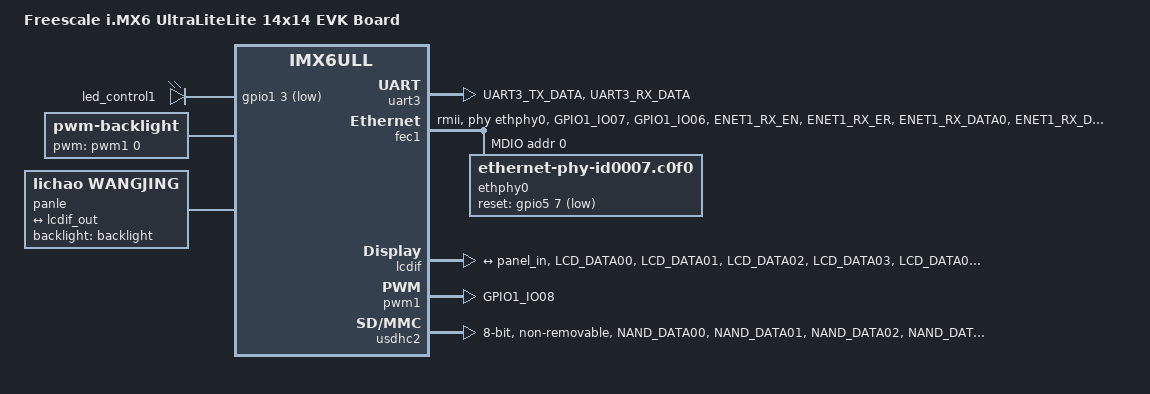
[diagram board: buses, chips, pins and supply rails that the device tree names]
// SPDX-License-Identifier: (GPL-2.0 OR MIT)
//
// Copyright (C) 2016 Freescale Semiconductor, Inc.

/dts-v1/;

#include "imx6ull.dtsi"

/ {
	model = "Freescale i.MX6 UltraLiteLite 14x14 EVK Board";
	compatible = "fsl,imx6ull-14x14-evk", "fsl,imx6ull";

	chosen {
		stdout-path = &uart3;
	};
	leds: leds {
		compatible = "gpio-leds";
		status = "okay";
	};
	backlight: backlight-display {
		compatible = "pwm-backlight";
		pwms = <&pwm1 0 100000>;
		brightness-levels = <0 4 8 16 32 64 128 255>;
		default-brightness-level = <128>;
		status = "okay";
	};
	
	panle {
		compatible = "lichao,wangjing", "panel-dpi";
		backlight = <&backlight>;
		status = "okay";
		port {
			panel_in: endpoint {
				remote-endpoint = <&lcdif_out>;
			};
		};
		panel-timing {
			clock-frequency = <51200000>;
			hactive = <1024>;
			vactive = <600>;
			hfront-porch = <160>;
			hback-porch = <140>;
			hsync-len = <20>;
			vback-porch = <20>;
			vfront-porch = <12>;
			vsync-len = <3>;
			hsync-active = <0>;
			vsync-active = <0>;
			de-active = <1>;
			pixelclk-active = <0>;
		};
	};
};
&iomuxc {
	pinctrl_uart3: uart3grp {
		fsl,pins = <
			MX6UL_PAD_UART3_TX_DATA__UART3_DCE_TX 0x1b0b1
			MX6UL_PAD_UART3_RX_DATA__UART3_DCE_RX 0x1b0b1
		>;
	};
	pinctrl_gpio1:gpio1grp {
		fsl,pins = <
			MX6UL_PAD_GPIO1_IO03__GPIO1_IO03 0x10b0
			MX6UL_PAD_GPIO1_IO01__GPIO1_IO01 0x10b0
		>;
	};
	pinctrl_enet1: enet1grp {
		fsl,pins = <
			MX6UL_PAD_GPIO1_IO07__ENET1_MDC			0x1b0b0
			MX6UL_PAD_GPIO1_IO06__ENET1_MDIO		0x1b0b0
			MX6UL_PAD_ENET1_RX_EN__ENET1_RX_EN		0x1b0b0
			MX6UL_PAD_ENET1_RX_ER__ENET1_RX_ER		0x1b0b0
			MX6UL_PAD_ENET1_RX_DATA0__ENET1_RDATA00	0x1b0b0
			MX6UL_PAD_ENET1_RX_DATA1__ENET1_RDATA01	0x1b0b0
			MX6UL_PAD_ENET1_TX_EN__ENET1_TX_EN		0x1b0b0
			MX6UL_PAD_ENET1_TX_DATA0__ENET1_TDATA00	0x1b0b0
			MX6UL_PAD_ENET1_TX_DATA1__ENET1_TDATA01	0x1b0b0
			MX6UL_PAD_ENET1_TX_CLK__ENET1_REF_CLK1	0x4001b031
		>;
	};

	pinctrl_phy0: phy0grp {
		fsl,pins = <
			MX6UL_PAD_SNVS_TAMPER7__GPIO5_IO07	0x1b0b0 /*reset*/
		>;
	};
	pinctrl_lcdif_dat: lcdifdatgrp {
		fsl,pins = <
			MX6UL_PAD_LCD_DATA00__LCDIF_DATA00  0x79
			MX6UL_PAD_LCD_DATA01__LCDIF_DATA01  0x79
			MX6UL_PAD_LCD_DATA02__LCDIF_DATA02  0x79
			MX6UL_PAD_LCD_DATA03__LCDIF_DATA03  0x79
			MX6UL_PAD_LCD_DATA04__LCDIF_DATA04  0x79
			MX6UL_PAD_LCD_DATA05__LCDIF_DATA05  0x79
			MX6UL_PAD_LCD_DATA06__LCDIF_DATA06  0x79
			MX6UL_PAD_LCD_DATA07__LCDIF_DATA07  0x79
			MX6UL_PAD_LCD_DATA08__LCDIF_DATA08  0x79
			MX6UL_PAD_LCD_DATA09__LCDIF_DATA09  0x79
			MX6UL_PAD_LCD_DATA10__LCDIF_DATA10  0x79
			MX6UL_PAD_LCD_DATA11__LCDIF_DATA11  0x79
			MX6UL_PAD_LCD_DATA12__LCDIF_DATA12  0x79
			MX6UL_PAD_LCD_DATA13__LCDIF_DATA13  0x79
			MX6UL_PAD_LCD_DATA14__LCDIF_DATA14  0x79
			MX6UL_PAD_LCD_DATA15__LCDIF_DATA15  0x79
			MX6UL_PAD_LCD_DATA16__LCDIF_DATA16  0x79
			MX6UL_PAD_LCD_DATA17__LCDIF_DATA17  0x79
			MX6UL_PAD_LCD_DATA18__LCDIF_DATA18  0x79
			MX6UL_PAD_LCD_DATA19__LCDIF_DATA19  0x79
			MX6UL_PAD_LCD_DATA20__LCDIF_DATA20  0x79
			MX6UL_PAD_LCD_DATA21__LCDIF_DATA21  0x79
			MX6UL_PAD_LCD_DATA22__LCDIF_DATA22  0x79
			MX6UL_PAD_LCD_DATA23__LCDIF_DATA23  0x79
		>;
	};

	pinctrl_lcdif_ctrl: lcdifctrlgrp {
		fsl,pins = <
			MX6UL_PAD_LCD_CLK__LCDIF_CLK	    0x79
			MX6UL_PAD_LCD_ENABLE__LCDIF_ENABLE  0x79
			MX6UL_PAD_LCD_HSYNC__LCDIF_HSYNC    0x79
			MX6UL_PAD_LCD_VSYNC__LCDIF_VSYNC    0x79
			/* used for lcd reset */
			MX6UL_PAD_SNVS_TAMPER9__GPIO5_IO09  0x79
		>;
	};
	pinctrl_pwm1: pwm1grp {
		fsl,pins = <
			MX6UL_PAD_GPIO1_IO08__PWM1_OUT		0x110b0
		>;
	};
	pinctrl_usdhc2_8bit: usdhc2grp {
		fsl,pins = <
			MX6UL_PAD_NAND_DATA00__USDHC2_DATA0	0x17059
			MX6UL_PAD_NAND_DATA01__USDHC2_DATA1	0x17059
			MX6UL_PAD_NAND_DATA02__USDHC2_DATA2	0x17059
			MX6UL_PAD_NAND_DATA03__USDHC2_DATA3	0x17059
			MX6UL_PAD_NAND_DATA04__USDHC2_DATA4	0x17059
			MX6UL_PAD_NAND_DATA05__USDHC2_DATA5	0x17059
			MX6UL_PAD_NAND_DATA06__USDHC2_DATA6	0x17059
			MX6UL_PAD_NAND_DATA07__USDHC2_DATA7	0x17059
			MX6UL_PAD_NAND_WE_B__USDHC2_CMD		0x17059
			MX6UL_PAD_NAND_RE_B__USDHC2_CLK		0x10059
		>;
	};
	pinctrl_usdhc2_8bit_100mhz: usdhc2grp100m {
		fsl,pins = <
			MX6UL_PAD_NAND_DATA00__USDHC2_DATA0	0x170b9
			MX6UL_PAD_NAND_DATA01__USDHC2_DATA1	0x170b9
			MX6UL_PAD_NAND_DATA02__USDHC2_DATA2	0x170b9
			MX6UL_PAD_NAND_DATA03__USDHC2_DATA3	0x170b9
			MX6UL_PAD_NAND_DATA04__USDHC2_DATA4	0x170b9
			MX6UL_PAD_NAND_DATA05__USDHC2_DATA5	0x170b9
			MX6UL_PAD_NAND_DATA06__USDHC2_DATA6	0x170b9
			MX6UL_PAD_NAND_DATA07__USDHC2_DATA7	0x170b9
			MX6UL_PAD_NAND_WE_B__USDHC2_CMD		0x170b9
			MX6UL_PAD_NAND_RE_B__USDHC2_CLK		0x100b9
		>;
	};
	pinctrl_usdhc2_8bit_200mhz: usdhc2grp200m {
		fsl,pins = <
			MX6UL_PAD_NAND_DATA00__USDHC2_DATA0	0x170f9
			MX6UL_PAD_NAND_DATA01__USDHC2_DATA1	0x170f9
			MX6UL_PAD_NAND_DATA02__USDHC2_DATA2	0x170f9
			MX6UL_PAD_NAND_DATA03__USDHC2_DATA3	0x170f9
			MX6UL_PAD_NAND_DATA04__USDHC2_DATA4	0x170f9
			MX6UL_PAD_NAND_DATA05__USDHC2_DATA5	0x170f9
			MX6UL_PAD_NAND_DATA06__USDHC2_DATA6	0x170f9
			MX6UL_PAD_NAND_DATA07__USDHC2_DATA7	0x170f9
			MX6UL_PAD_NAND_WE_B__USDHC2_CMD		0x170f9
			MX6UL_PAD_NAND_RE_B__USDHC2_CLK		0x100f9
		>;
	};
};

&uart3 {
	pinctrl-names = "default";
	pinctrl-0 = <&pinctrl_uart3>;
	status = "okay";
};
/*
&gpio1 {
	pinctrl-names = "default";
	pinctrl-0 = <&pinctrl_gpio1>;
	gpio-line-names = "", "", "", "my led";
	status = "okay";
};
*/
&leds {
	led_control {
		label = "led_control1";
		pinctrl-names = "default";
		pinctrl-0 = <&pinctrl_gpio1>;
		gpios = <&gpio1 3 GPIO_ACTIVE_LOW>;
		default-state = "off";
		status = "okay";
	};
};
&fec1 {
	pinctrl-names = "default";
	pinctrl-0 = <&pinctrl_enet1>;
	phy-mode = "rmii";
	phy-handle = <&ethphy0>;
	status = "okay";
	mdio {
		#address-cells = <1>;
		#size-cells = <0>;
		ethphy0: ethernet-phy@0 {
			compatible = "ethernet-phy-id0007.c0f0";
			reg = <0>;
			pinctrl-names = "default";
			pinctrl-0 = <&pinctrl_phy0>;
			reset-gpios = <&gpio5 7 GPIO_ACTIVE_LOW>; 
			reset-assert-us = <1000>;
			reset-deassert-us = <100000>;
		};
	};
};

&lcdif {
	pinctrl-names = "default";
	pinctrl-0 = <&pinctrl_lcdif_dat
		     &pinctrl_lcdif_ctrl>;
	status = "okay";

	port {
		lcdif_out: endpoint {
			remote-endpoint = <&panel_in>;
		};
	};
};
&pwm1 {
	#pwm-cells = <2>;
	pinctrl-names = "default";
	pinctrl-0 = <&pinctrl_pwm1>;
	status = "okay";
};

&usdhc2 {
	pinctrl-names = "default", "state_100mhz", "state_200mhz";
	pinctrl-0 = <&pinctrl_usdhc2_8bit>;
	pinctrl-1 = <&pinctrl_usdhc2_8bit_100mhz>;
	pinctrl-2 = <&pinctrl_usdhc2_8bit_200mhz>;
	bus-width = <8>;
	non-removable;
	status = "okay";
};
